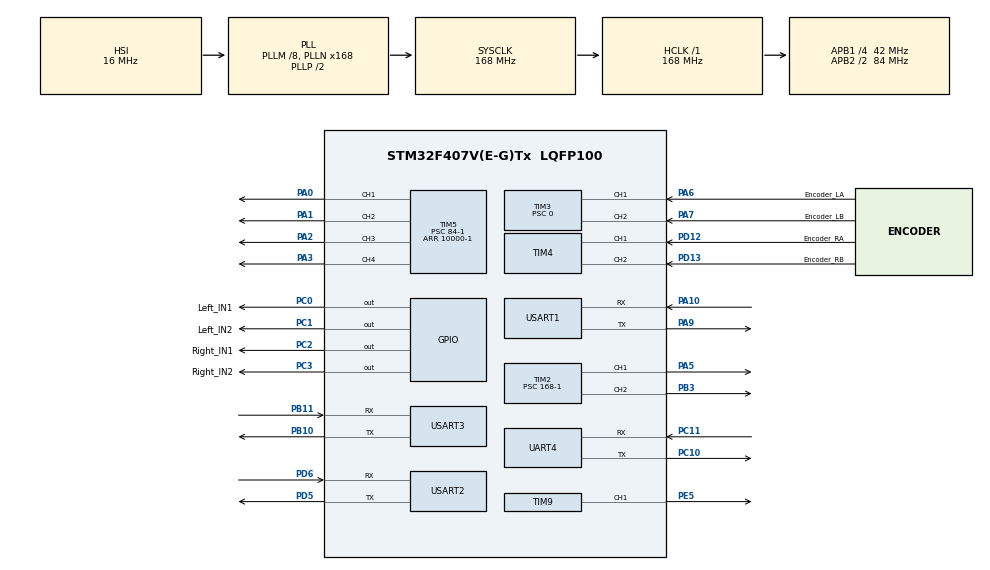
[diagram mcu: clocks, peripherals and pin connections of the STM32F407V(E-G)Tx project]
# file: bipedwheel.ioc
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Mcu.Family=STM32F4
Mcu.Name=STM32F407V(E-G)Tx
Mcu.Package=LQFP100
NVIC.PriorityGroup=NVIC_PRIORITYGROUP_4
NVIC.TIM1_UP_TIM10_IRQn=true\:0\:0\:false\:false\:true\:true\:true\:true
NVIC.UART4_IRQn=true\:0\:0\:false\:false\:true\:true\:true\:true
NVIC.USART1_IRQn=true\:0\:0\:false\:false\:true\:true\:true\:true
NVIC.USART2_IRQn=true\:0\:0\:false\:false\:true\:true\:true\:true
NVIC.USART3_IRQn=true\:0\:0\:false\:false\:true\:true\:true\:true
PA0-WKUP.Signal=S_TIM5_CH1
PA1.Signal=S_TIM5_CH2
PA10.Mode=Asynchronous
PA10.Signal=USART1_RX
PA13.Mode=Serial_Wire
PA13.Signal=SYS_JTMS-SWDIO
PA14.Mode=Serial_Wire
PA14.Signal=SYS_JTCK-SWCLK
PA2.Signal=S_TIM5_CH3
PA3.Signal=S_TIM5_CH4
PA5.Signal=S_TIM2_CH1_ETR
PA6.GPIO_Label=Encoder_LA
PA6.Signal=S_TIM3_CH1
PA7.GPIO_Label=Encoder_LB
PA7.Signal=S_TIM3_CH2
PA9.Mode=Asynchronous
PA9.Signal=USART1_TX
PB10.Mode=Asynchronous
PB10.Signal=USART3_TX
PB11.Mode=Asynchronous
PB11.Signal=USART3_RX
PB3.Signal=S_TIM2_CH2
PC0.GPIO_Label=Left_IN1
PC0.GPIO_PuPd=GPIO_PULLDOWN
PC0.Signal=GPIO_Output
PC1.GPIO_Label=Left_IN2
PC1.Signal=GPIO_Output
PC10.Mode=Asynchronous
PC10.Signal=UART4_TX
PC11.Mode=Asynchronous
PC11.Signal=UART4_RX
PC2.GPIO_Label=Right_IN1
PC2.GPIO_PuPd=GPIO_PULLDOWN
PC2.Signal=GPIO_Output
PC3.GPIO_Label=Right_IN2
PC3.GPIO_PuPd=GPIO_PULLDOWN
PC3.Signal=GPIO_Output
PD12.GPIO_Label=Encoder_RA
PD12.Signal=S_TIM4_CH1
PD13.GPIO_Label=Encoder_RB
PD13.Signal=S_TIM4_CH2
PD5.Mode=Asynchronous
PD5.Signal=USART2_TX
PD6.Mode=Asynchronous
PD6.Signal=USART2_RX
PE5.Signal=S_TIM9_CH1
PH0-OSC_IN.Mode=HSE-External-Oscillator
PH0-OSC_IN.Signal=RCC_OSC_IN
PH1-OSC_OUT.Mode=HSE-External-Oscillator
PH1-OSC_OUT.Signal=RCC_OSC_OUT
ProjectManager.HeapSize=0x200
ProjectManager.StackSize=0x400
ProjectManager.TargetToolchain=Makefile
RCC.48MHZClocksFreq_Value=84000000
RCC.AHBFreq_Value=168000000
RCC.APB1CLKDivider=RCC_HCLK_DIV4
RCC.APB1Freq_Value=42000000
RCC.APB1TimFreq_Value=84000000
RCC.APB2CLKDivider=RCC_HCLK_DIV2
RCC.APB2Freq_Value=84000000
RCC.APB2TimFreq_Value=168000000
RCC.CortexFreq_Value=168000000
RCC.HCLKFreq_Value=168000000
RCC.HSE_VALUE=25000000
RCC.HSI_VALUE=16000000
RCC.LSE_VALUE=32768
RCC.PLLM=8
RCC.PLLN=168
RCC.SYSCLKFreq_VALUE=168000000
RCC.SYSCLKSource=RCC_SYSCLKSOURCE_PLLCLK
RCC.VCOOutputFreq_Value=336000000
SH.S_TIM2_CH1_ETR.0=TIM2_CH1,PWM Generation1 CH1
SH.S_TIM2_CH2.0=TIM2_CH2,PWM Generation2 CH2
SH.S_TIM3_CH1.0=TIM3_CH1,Encoder_Interface
SH.S_TIM3_CH2.0=TIM3_CH2,Encoder_Interface
SH.S_TIM4_CH1.0=TIM4_CH1,Encoder_Interface
SH.S_TIM4_CH2.0=TIM4_CH2,Encoder_Interface
SH.S_TIM5_CH1.0=TIM5_CH1,PWM Generation1 CH1
SH.S_TIM5_CH2.0=TIM5_CH2,PWM Generation2 CH2
SH.S_TIM5_CH3.0=TIM5_CH3,PWM Generation3 CH3
SH.S_TIM5_CH4.0=TIM5_CH4,PWM Generation4 CH4
SH.S_TIM9_CH1.0=TIM9_CH1,PWM Generation1 CH1
TIM1.Period=1000-1
TIM1.Prescaler=168-1
TIM2.Channel-PWM\ Generation1\ CH1=TIM_CHANNEL_1
TIM2.Channel-PWM\ Generation2\ CH2=TIM_CHANNEL_2
TIM2.Period=10000-1
TIM2.Prescaler=168-1
TIM3.Prescaler=0
TIM5.Channel-PWM\ Generation1\ CH1=TIM_CHANNEL_1
TIM5.Channel-PWM\ Generation2\ CH2=TIM_CHANNEL_2
TIM5.Channel-PWM\ Generation3\ CH3=TIM_CHANNEL_3
TIM5.Channel-PWM\ Generation4\ CH4=TIM_CHANNEL_4
TIM5.Period=10000-1
TIM5.Prescaler=84-1
TIM9.Channel-PWM\ Generation1\ CH1=TIM_CHANNEL_1
TIM9.Period=10000-1
TIM9.Prescaler=167
UART4.VirtualMode=Asynchronous
USART1.VirtualMode=VM_ASYNC
USART2.VirtualMode=VM_ASYNC
USART3.VirtualMode=VM_ASYNC
VP_TIM1_VS_ClockSourceINT.Mode=Internal
VP_TIM5_VS_ClockSourceINT.Mode=Internal
VP_TIM9_VS_ClockSourceINT.Mode=Internal
board=custom

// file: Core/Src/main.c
/* USER CODE BEGIN Header */
/**
  ******************************************************************************
  * @file           : main.c
  * @brief          : Main program body
  ******************************************************************************
  * @attention
  *
  * Copyright (c) 2025 STMicroelectronics.
  * All rights reserved.
  *
  * This software is licensed under terms that can be found in the LICENSE file
  * in the root directory of this software component.
  * If no LICENSE file comes with this software, it is provided AS-IS.
  *
  ******************************************************************************
  */
/* USER CODE END Header */
#include "main.h"
#include "tim.h"
#include "usart.h"
#include "gpio.h"

/* USER CODE BEGIN Includes */
#include <stdio.h>
#include "jy901s.h"
#include "wtr_calculate.h"
#include "control.h"
#include "RemoteCtr.h"
#include "math.h"
/* USER CODE END Includes */

void SystemClock_Config(void);
/* USER CODE BEGIN PFP */
// 重定向printf函数 retarget to USART2
#ifdef __GNUC__
#define PUTCHAR_PROTOTYPE int __io_putchar(int ch)
#else
#define PUTCHAR_PROTOTYPE int fputc(int ch, FILE *f)
#endif

PUTCHAR_PROTOTYPE
{
    HAL_UART_Transmit(&huart2, (uint8_t *)&ch, 1, 100);
    return ch;
}

/* USER CODE END PFP */

/* USER CODE BEGIN 0 */
uint8_t tim_elapsed;

/* USER CODE END 0 */

int main(void)
{

  /* MCU Configuration--------------------------------------------------------*/

  /* Reset of all peripherals, Initializes the Flash interface and the Systick. */
  HAL_Init();

  /* Configure the system clock */
  SystemClock_Config();

  /* Initialize all configured peripherals */
  MX_GPIO_Init();
  MX_TIM1_Init();
  MX_TIM2_Init();
  MX_TIM4_Init();
  MX_TIM5_Init();
  MX_USART1_UART_Init();
  MX_USART2_UART_Init();
  MX_TIM3_Init();
  MX_USART3_UART_Init();
  MX_TIM9_Init();
  MX_UART4_Init();
  /* USER CODE BEGIN 2 */
  Control_Peripheral_init();
  Control_param_init();
  // printf("B%d\n",0);
    // for(int16_t i=100;i>0;i--){
    //   printf("A%d\n",i);
    //   HAL_Delay(1);
    // }
    // __HAL_TIM_SetCompare(&htim2,TIM_CHANNEL_1,1500);
   //__HAL_TIM_SetCompare(&htim5,TIM_CHANNEL_1,1500);
  HAL_UART_Receive_IT(&huart4, &rx_temp, 1);
  /* USER CODE END 2 */

  /* Infinite loop */
  /* USER CODE BEGIN WHILE */
  while (1)
  {
    JY901S_Update();
    Angle_Control_Loop();
    Velocity_Control_Loop(forward_ref, turn_ref);

    // __HAL_TIM_SetCompare(&htim5,TIM_CHANNEL_1,500);
    // __HAL_TIM_SetCompare(&htim5,TIM_CHANNEL_2,500);
    // __HAL_TIM_SetCompare(&htim5,TIM_CHANNEL_3,500);
    // __HAL_TIM_SetCompare(&htim5,TIM_CHANNEL_4,500);
    // for(int i=130;i>=30;i=i-5){
    if(fabs(fAngle[0])>20+(100.0-height_ref)/20)  //防止翻车后pid风车
    {
        height_ref=0;
    }
    Servo_IK_Control(0,height_ref+30); //范围30-130
    Servo_IK_Control(1,height_ref+30); //范围30-130

    //Roll_Control_Loop();
      Wheel_Control_Loop();
    /* USER CODE END WHILE */

  }
}

void SystemClock_Config(void)
{
  RCC_OscInitTypeDef RCC_OscInitStruct = {0};
  RCC_ClkInitTypeDef RCC_ClkInitStruct = {0};

  /** Configure the main internal regulator output voltage
  */
  __HAL_RCC_PWR_CLK_ENABLE();
  __HAL_PWR_VOLTAGESCALING_CONFIG(PWR_REGULATOR_VOLTAGE_SCALE1);

  /** Initializes the RCC Oscillators according to the specified parameters
  * in the RCC_OscInitTypeDef structure.
  */
  RCC_OscInitStruct.OscillatorType = RCC_OSCILLATORTYPE_HSI;
  RCC_OscInitStruct.HSIState = RCC_HSI_ON;
  RCC_OscInitStruct.HSICalibrationValue = RCC_HSICALIBRATION_DEFAULT;
  RCC_OscInitStruct.PLL.PLLState = RCC_PLL_ON;
  RCC_OscInitStruct.PLL.PLLSource = RCC_PLLSOURCE_HSI;
  RCC_OscInitStruct.PLL.PLLM = 8;
  RCC_OscInitStruct.PLL.PLLN = 168;
  RCC_OscInitStruct.PLL.PLLP = RCC_PLLP_DIV2;
  RCC_OscInitStruct.PLL.PLLQ = 4;
  if (HAL_RCC_OscConfig(&RCC_OscInitStruct) != HAL_OK)
  {
    Error_Handler();
  }

  /** Initializes the CPU, AHB and APB buses clocks
  */
  RCC_ClkInitStruct.ClockType = RCC_CLOCKTYPE_HCLK|RCC_CLOCKTYPE_SYSCLK
                              |RCC_CLOCKTYPE_PCLK1|RCC_CLOCKTYPE_PCLK2;
  RCC_ClkInitStruct.SYSCLKSource = RCC_SYSCLKSOURCE_PLLCLK;
  RCC_ClkInitStruct.AHBCLKDivider = RCC_SYSCLK_DIV1;
  RCC_ClkInitStruct.APB1CLKDivider = RCC_HCLK_DIV4;
  RCC_ClkInitStruct.APB2CLKDivider = RCC_HCLK_DIV2;

  if (HAL_RCC_ClockConfig(&RCC_ClkInitStruct, FLASH_LATENCY_5) != HAL_OK)
  {
    Error_Handler();
  }
}

/* USER CODE BEGIN 4 */
void HAL_TIM_PeriodElapsedCallback(TIM_HandleTypeDef *htim)
{
  if(htim->Instance == TIM1)
  {
    tim_elapsed = 1;
  }
}
/* USER CODE END 4 */

void Error_Handler(void)
{
  __disable_irq();
  while (1)
  {
  }
}
